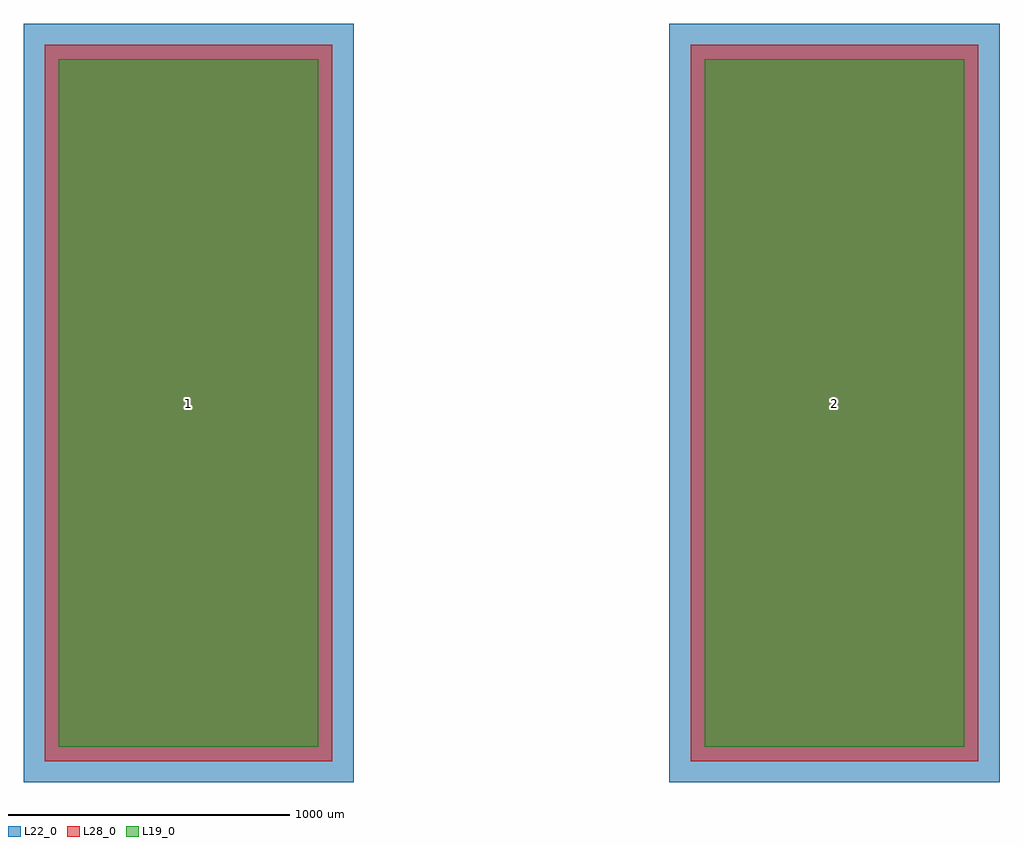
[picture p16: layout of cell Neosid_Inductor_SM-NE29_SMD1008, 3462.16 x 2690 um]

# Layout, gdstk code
import gdstk
lib = gdstk.Library(unit=1e-6, precision=1e-09)
def R(c, l, rs):  # rectangles x0, y0, x1, y1
    for r in rs: c.add(gdstk.rectangle(r[:2], r[2:], *l))
L19_0 = (19, 0)
L22_0 = (22, 0)
L28_0 = (28, 0)

neosid_inductor_sm_ne29_ = lib.new_cell('Neosid_Inductor_SM-NE29_SMD1008')
R(neosid_inductor_sm_ne29_, L19_0, [(-1606.08,-1220,-685,1220), (685,-1220,1606.08,1220)])
R(neosid_inductor_sm_ne29_, L22_0, [(-1731.08,-1345,-560,1345), (560,-1345,1731.08,1345)])
R(neosid_inductor_sm_ne29_, L28_0, [(-1656.08,-1270,-635,1270), (635,-1270,1656.08,1270)])
neosid_inductor_sm_ne29_.add(gdstk.Label('1', (-1145.54,0), layer=28, texttype=0))
neosid_inductor_sm_ne29_.add(gdstk.Label('2', (1145.54,0), layer=28, texttype=0))
neosid_inductor_sm_ne29_.add(gdstk.Label('type', (0,-3200.4), layer=9, texttype=0))
neosid_inductor_sm_ne29_.add(gdstk.Label('devicename', (-200.66,3200.4), layer=9, texttype=0))

lib.write_gds('Neosid_Inductor_SM-NE29_SMD1008.gds')
